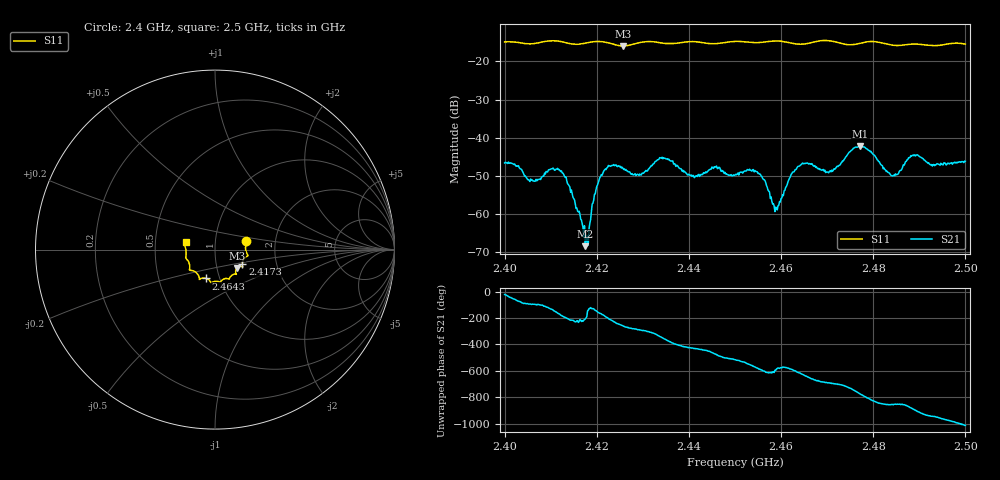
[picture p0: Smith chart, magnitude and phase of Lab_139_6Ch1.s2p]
# Hz S RI R 50
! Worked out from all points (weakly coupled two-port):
!   601 points, 2.4 GHz to 2.5 GHz, reference 50 ohm
!   highest |S21| = -42.16 dB at 2.4772 GHz (marker M1); lowest = -68.4 dB at 2.4175 GHz (marker M2)
!   lowest |S11| = -15.9 dB at 2.4257 GHz (marker M3), VSWR 1.38, Z = 62.4 - j13.1 ohm
!   |S11| at or under -10 dB: start of sweep to end of sweep
!   S12 and S22 are empty: the file has one direction only
!   S11 on the Smith chart (normalised r, x): 2.4 GHz: 1.41, +0.15; 2.4173 GHz: 1.34, -0.23; 2.4643 GHz: 0.86, -0.28; 2.5 GHz: 0.72, +0.06
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2.4e9  0.1733 0.0498  0.00434 -0.00178  0 0  0 0
2.406e9  0.1705 0.000801  -0.000265 -0.0028  0 0  0 0
2.412e9  0.1797 -0.0364  -0.00368 -0.000547  0 0  0 0
2.416667e9  0.1529 -0.0746  -0.000582 0.000609  0 0  0 0
2.417333e9  0.1523 -0.0819  -0.000601 0.00037  0 0  0 0
2.4175e9  0.1522 -0.0838  -0.000341 0.000171  0 0  0 0
2.418e9  0.1526 -0.0883  -0.000322 -0.000215  0 0  0 0
2.421167e9  0.1541 -0.0958  -0.00323 -0.000318  0 0  0 0
2.425667e9  0.1224 -0.1025  -0.000802 0.00394  0 0  0 0
2.4295e9  0.117 -0.1339  0.00116 0.00307  0 0  0 0
2.433333e9  0.1129 -0.1367  0.00463 0.00233  0 0  0 0
2.440833e9  0.0786 -0.1646  0.00126 -0.00297  0 0  0 0
2.45e9  0.0295 -0.1807  -0.00297 -0.00138  0 0  0 0
2.455e9  0.0018 -0.1768  -0.0026 0.00222  0 0  0 0
2.459e9  -0.0216 -0.1842  -0.000833 0.000872  0 0  0 0
2.464333e9  -0.0502 -0.1605  -0.000667 0.0044  0 0  0 0
2.466667e9  -0.0761 -0.1599  0.00228 0.004  0 0  0 0
2.470667e9  -0.0871 -0.1647  0.0033 0.00168  0 0  0 0
2.477167e9  -0.1283 -0.1164  0.00456 -0.00632  0 0  0 0
2.483333e9  -0.1408 -0.0896  -0.00248 -0.00248  0 0  0 0
2.489e9  -0.1625 -0.0464  -0.00598 -0.000454  0 0  0 0
2.5e9  -0.1635 0.042  0.0019 0.00455  0 0  0 0
